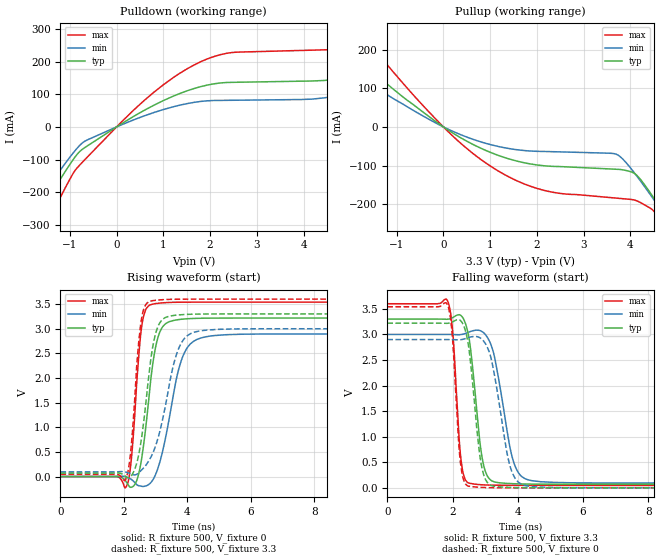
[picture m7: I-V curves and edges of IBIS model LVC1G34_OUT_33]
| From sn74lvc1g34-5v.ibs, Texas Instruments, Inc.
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[Model]   LVC1G34_OUT_33
Model_type  Output
Vref =   0
Rref =   500
Cref =   50p
Vmeas =   1.5
| variable   typ   min   max
C_comp   9.52pF   5.86pF   13.14pF
| C_pullup   9.85pF   5.86pF   11.98pF
| C_pulldown   9.19pF   6.46pF   13.14pF
[Temperature Range]   40   100   -40
| Ambient temperature   25   85   -40
[Voltage range]   3.3   3   3.6
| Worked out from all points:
|   slope of the pulldown table from 0 to 0.495 V, typ, clamps not added: 11.5 ohm
|   slope of the pullup table from 0 to 0.495 V, typ, clamps not added: 13.6 ohm
|   rising waveform, R_fixture 500, V_fixture 0: 20-80 % time 361ps typ, 546ps min, 239ps max; typ from 0 V to 3.22 V
|   falling waveform, R_fixture 500, V_fixture 3.3: 20-80 % time 312ps typ, 470ps min, 203ps max; typ from 3.3 V to 0.071 V
|   rising waveform, R_fixture 500, V_fixture 3.3: 20-80 % time 374ps typ, 603ps min, 243ps max; typ from 0.07 V to 3.3 V
|   falling waveform, R_fixture 500, V_fixture 0: 20-80 % time 305ps typ, 452ps min, 200ps max; typ from 3.22 V to 0 V
[Pulldown]
| LVC1G34_OUT_33
|   Voltage   I(typ)   I(min)   I(max)
-5.5V     -1.107A    -970.8mA   -1.353A
-2.055V   -353.2mA   -300.4mA   -454.5mA
-1.49V    -224.6mA   -188.2mA   -296.4mA
-740mV    -69.5mA    -50.1mA    -109.7mA
365mV     32.28mA    21.63mA    51.56mA
2.22V     134.9mA    81.36mA    221.6mA
4.92V     153.7mA    101.9mA    243.5mA
6.98V     278.6mA    201.4mA    397.7mA
7.35V     308.4mA    129.2mA    438.3mA
7.84V     330.1mA    92.32mA    495.6mA
8.75V     170.7mA    93.06mA    502mA
11V       160mA      96.27mA    278.2mA
[Pullup]
| LVC1G34_OUT_33
|   Voltage   I(typ)   I(min)   I(max)
-5.5V     609.5mA    479.2mA    854.2mA
-3.49V    364.8mA    283mA      516.7mA
-2.685V   271.1mA    208.6mA    386.5mA
-1.96V    190.3mA    144.9mA    273.3mA
-55mV     4.572mA    3.33mA     6.783mA
1.095V    -70.05mA   -48.34mA   -108.1mA
2.155V    -100.5mA   -63.45mA   -164.1mA
3.69V     -109.4mA   -70.27mA   -184mA
4.135V    -124.9mA   -126.7mA   -191mA
4.79V     -237.5mA   -238.3mA   -272mA
5V        -277.7mA   -275.7mA   -316.9mA
11V       -1.518A    -1.406A    -1.753A
[Ramp]
| LVC1G34_OUT_33
| variable   typ   min   max
dV/dt_r   2.06/3.91E-10   1.86/5.92E-10   2.26/2.57E-10
dV/dt_f   1.99/3.29E-10   1.79/4.93E-10   2.18/2.15E-10
R_load = 500
[Rising Waveform]
| LVC1G34_OUT_33
R_fixture =   500
C_fixture =   0
L_fixture =   0
V_fixture =   0
V_fixture_min = 0
V_fixture_max = 0
|   Time   V(typ)   V(min)   V(max)
0s        144.1pV    5.487nV    2.182nV
2.085ns   -119mV     -10.39mV   -190.3mV
2.24ns    -215.7mV   -61.08mV   404.2mV
2.45ns    19.53mV    -182.6mV   2.314V
2.56ns    377.5mV    -197.4mV   3.053V
2.905ns   2.274V     -71.21mV   3.499V
3.2ns     3.022V     468.1mV    3.524V
3.825ns   3.193V     2.389V     3.538V
4.56ns    3.213V     2.834V     3.539V
24.99ns   3.216V     2.894V     3.539V
[Falling Waveform]
| LVC1G34_OUT_33
R_fixture =   500
C_fixture =   0
L_fixture =   0
V_fixture =   3.3
V_fixture_min = 3
V_fixture_max = 3.6
|   Time   V(typ)   V(min)   V(max)
0s        3.3V       3V         3.6V
1.855ns   3.298V     3V         3.646V
2.005ns   3.329V     2.998V     3.049V
2.26ns    3.368V     2.998V     551.1mV
2.495ns   2.963V     3.044V     93.64mV
2.915ns   562.9mV    3.051V     59.53mV
3.31ns    112.5mV    2.488V     51.93mV
3.865ns   81.46mV    522mV      49.27mV
4.425ns   73.67mV    140.9mV    48.68mV
24.99ns   70.51mV    94.57mV    48.42mV
[Rising Waveform]
| LVC1G34_OUT_33
R_fixture =   500
C_fixture =   0
L_fixture =   0
V_fixture =   3.3
V_fixture_min = 3
V_fixture_max = 3.6
|   Time   V(typ)   V(min)   V(max)
0s        70.47mV    94.51mV    48.4mV
2.045ns   8.32mV     92.59mV    -68.69mV
2.22ns    5.559mV    55.49mV    557.1mV
2.42ns    317.3mV    51.65mV    2.392V
2.54ns    721.1mV    122.6mV    3.147V
2.885ns   2.553V     442.6mV    3.567V
3.165ns   3.152V     1.012V     3.586V
3.7ns     3.278V     2.561V     3.598V
4.37ns    3.297V     2.953V     3.6V
24.99ns   3.3V       3V         3.6V
[Falling Waveform]
| LVC1G34_OUT_33
R_fixture =   500
C_fixture =   0
L_fixture =   0
V_fixture =   0
V_fixture_min = 0
V_fixture_max = 0
|   Time   V(typ)   V(min)   V(max)
0s        3.22V      2.9V       3.542V
1.845ns   3.218V     2.9V       3.578V
1.99ns    3.242V     2.899V     2.988V
2.24ns    3.273V     2.897V     509.6mV
2.485ns   2.796V     2.938V     32.75mV
2.88ns    458.1mV    2.917V     9.699mV
3.285ns   29.5mV     2.208V     2.968mV
3.775ns   9.032mV    400mV      876.5uV
4.31ns    2.638mV    35.12mV    290.4uV
24.99ns   36.43uV    50.79uV    25.47uV
